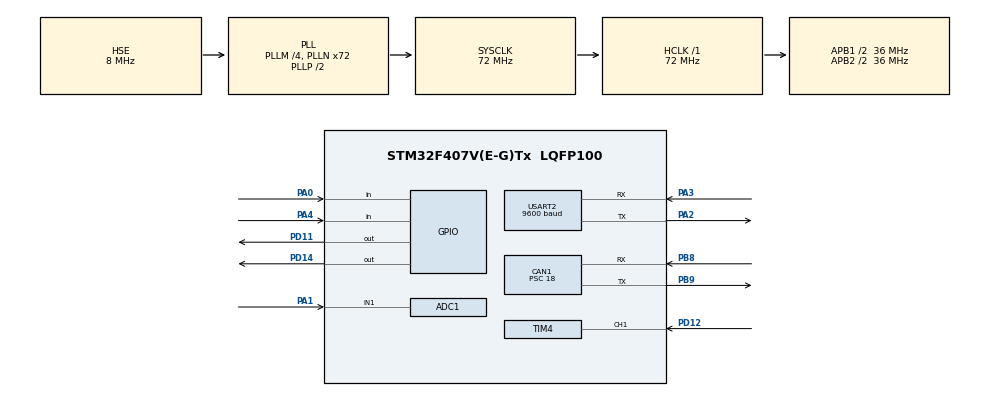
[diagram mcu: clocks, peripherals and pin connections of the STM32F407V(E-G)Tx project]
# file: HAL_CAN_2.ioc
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ADC1.Channel-0\#ChannelRegularConversion=ADC_CHANNEL_1
ADC1.NbrOfConversionFlag=1
ADC1.Rank-0\#ChannelRegularConversion=1
ADC1.SamplingTime-0\#ChannelRegularConversion=ADC_SAMPLETIME_3CYCLES
ADC1.master=1
CAN1.BS1=CAN_BS1_2TQ
CAN1.CalculateBaudRate=500000
CAN1.CalculateTimeBit=2000
CAN1.CalculateTimeQuantum=500.0
CAN1.Prescaler=18
Mcu.Family=STM32F4
Mcu.Name=STM32F407V(E-G)Tx
Mcu.Package=LQFP100
NVIC.CAN1_RX0_IRQn=true\:0\:0\:false\:false\:true\:true\:true\:true
NVIC.PriorityGroup=NVIC_PRIORITYGROUP_0
NVIC.TIM4_IRQn=true\:0\:0\:false\:false\:true\:true\:true\:true
PA0-WKUP.Signal=GPIO_Input
PA1.Signal=ADCx_IN1
PA2.Mode=Asynchronous
PA2.Signal=USART2_TX
PA3.Mode=Asynchronous
PA3.Signal=USART2_RX
PA4.Signal=GPIO_Input
PB8.Mode=CAN_Activate
PB8.Signal=CAN1_RX
PB9.Mode=CAN_Activate
PB9.Signal=CAN1_TX
PD11.Signal=GPIO_Output
PD12.Signal=S_TIM4_CH1
PD14.Signal=GPIO_Output
PH0-OSC_IN.Mode=HSE-External-Oscillator
PH0-OSC_IN.Signal=RCC_OSC_IN
PH1-OSC_OUT.Mode=HSE-External-Oscillator
PH1-OSC_OUT.Signal=RCC_OSC_OUT
ProjectManager.HeapSize=0x200
ProjectManager.StackSize=0x400
ProjectManager.TargetToolchain=STM32CubeIDE
RCC.48MHZClocksFreq_Value=20571428.57142857
RCC.AHBFreq_Value=72000000
RCC.APB1CLKDivider=RCC_HCLK_DIV2
RCC.APB1Freq_Value=36000000
RCC.APB1TimFreq_Value=72000000
RCC.APB2CLKDivider=RCC_HCLK_DIV2
RCC.APB2Freq_Value=36000000
RCC.APB2TimFreq_Value=72000000
RCC.CortexFreq_Value=72000000
RCC.HCLKFreq_Value=72000000
RCC.HSE_VALUE=8000000
RCC.HSI_VALUE=16000000
RCC.LSE_VALUE=32768
RCC.PLLM=4
RCC.PLLN=72
RCC.PLLQ=7
RCC.PLLSourceVirtual=RCC_PLLSOURCE_HSE
RCC.SYSCLKFreq_VALUE=72000000
RCC.SYSCLKSource=RCC_SYSCLKSOURCE_PLLCLK
RCC.VCOOutputFreq_Value=144000000
SH.ADCx_IN1.0=ADC1_IN1,IN1
SH.S_TIM4_CH1.0=TIM4_CH1,Input_Capture1_from_TI1
TIM4.Channel-Input_Capture1_from_TI1=TIM_CHANNEL_1
TIM4.Prescaler=84-1
USART2.BaudRate=9600
USART2.VirtualMode=VM_ASYNC
VP_TIM4_VS_ClockSourceINT.Mode=Internal
board=STM32F407G-DISC1

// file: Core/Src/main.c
/* USER CODE BEGIN Header */
/**
  ******************************************************************************
  * @file           : main.c
  * @brief          : Main program body
  ******************************************************************************
  * @attention
  *
  * Copyright (c) 2024 STMicroelectronics.
  * All rights reserved.
  *
  * This software is licensed under terms that can be found in the LICENSE file
  * in the root directory of this software component.
  * If no LICENSE file comes with this software, it is provided AS-IS.
  *
  ******************************************************************************
  */
/* USER CODE END Header */
#include "main.h"

/* USER CODE BEGIN Includes */
#include <stdio.h>
#include <string.h>

/* USER CODE END Includes */

/* USER CODE BEGIN PD */
#define ULTRASONIC_TRIGGER_PORT		GPIOD
#define ULTRASONIC_TRIGGER_PIN		GPIO_PIN_11
#define ULTRASONIC_ECHO_PIN_IC		&htim4			//GPIO_PIN_12
/* USER CODE END PD */

ADC_HandleTypeDef hadc1;

CAN_HandleTypeDef hcan1;

TIM_HandleTypeDef htim4;

UART_HandleTypeDef huart2;

/* USER CODE BEGIN PV */
CAN_TxHeaderTypeDef TxHeader;
uint8_t TxData[8]={0};
uint32_t TxMailBox;
//.....................................
uint16_t distance = 0;
uint8_t isReadingFinished = 0;
uint8_t isRisingCaptured = 0;
uint32_t InputCaptureValue_1 = 0;
uint32_t InputCaptureValue_2 = 0;
uint32_t InputCaptureDifference = 0;
/* USER CODE END PV */

void SystemClock_Config(void);
static void MX_GPIO_Init(void);
static void MX_CAN1_Init(void);
static void MX_TIM4_Init(void);
static void MX_USART2_UART_Init(void);
static void MX_ADC1_Init(void);

/* USER CODE BEGIN 0 */

void Ultrasonic_distance(void)
{
	//Send Trigger Signal to ultrasonic trigger pin
	HAL_GPIO_WritePin(ULTRASONIC_TRIGGER_PORT, ULTRASONIC_TRIGGER_PIN, GPIO_PIN_SET);
	HAL_Delay(10);
	HAL_GPIO_WritePin(ULTRASONIC_TRIGGER_PORT, ULTRASONIC_TRIGGER_PIN, GPIO_PIN_RESET);
	//Enable Timer counter
	__HAL_TIM_ENABLE_IT(ULTRASONIC_ECHO_PIN_IC, TIM_IT_CC1);
}

void HAL_TIM_IC_CaptureCallback(TIM_HandleTypeDef *htim)
{
	//Capture Rising Edge
	if(isRisingCaptured == 0)
	{
		InputCaptureValue_1 = HAL_TIM_ReadCapturedValue(&htim4, TIM_CHANNEL_1);
		isRisingCaptured = 1;
		__HAL_TIM_SET_CAPTUREPOLARITY(&htim4, TIM_CHANNEL_1, TIM_INPUTCHANNELPOLARITY_FALLING);
	}
	//Capture Falling Edge
	else if(isRisingCaptured == 1)
	{
		InputCaptureValue_2 = HAL_TIM_ReadCapturedValue(&htim4, TIM_CHANNEL_1);
		__HAL_TIM_SET_COUNTER(&htim4, 0);

		if(InputCaptureValue_2 > InputCaptureValue_1)
		{
			InputCaptureDifference = InputCaptureValue_2 - InputCaptureValue_1;
		}
		else if(InputCaptureValue_1 > InputCaptureValue_2)
		{
			InputCaptureDifference = (0xFFFF - InputCaptureValue_1) + InputCaptureValue_2;
		}

		distance = InputCaptureDifference * 0.0173;

		isReadingFinished = 1;

		isRisingCaptured = 0;

		__HAL_TIM_SET_CAPTUREPOLARITY(&htim4, TIM_CHANNEL_1, TIM_INPUTCHANNELPOLARITY_RISING);
		__HAL_TIM_DISABLE_IT(&htim4, TIM_IT_CC1);

	}

}
/* USER CODE END 0 */

int main(void)
{

  /* MCU Configuration--------------------------------------------------------*/

  /* Reset of all peripherals, Initializes the Flash interface and the Systick. */
  HAL_Init();

  /* Configure the system clock */
  SystemClock_Config();

  /* Initialize all configured peripherals */
  MX_GPIO_Init();
  MX_CAN1_Init();
  MX_TIM4_Init();
  MX_USART2_UART_Init();
  MX_ADC1_Init();

  /* USER CODE BEGIN 2 */
  HAL_CAN_Start(&hcan1);
  HAL_TIM_IC_Start_IT(&htim4, TIM_CHANNEL_1);
  /* USER CODE END 2 */

  /* Infinite loop */
  /* USER CODE BEGIN WHILE */
	TxHeader.DLC = 5;
	TxHeader.RTR = CAN_RTR_DATA;
	TxHeader.IDE = CAN_ID_STD;
	TxHeader.StdId = 0x0A9;
	TxHeader.ExtId = 0x0000;
	TxHeader.TransmitGlobalTime = DISABLE;
  while (1)
  {
    /* USER CODE END WHILE */

    /* USER CODE BEGIN 3 */
	Ultrasonic_distance();
//	uint16_t distance = Get_Distance_Cm();
	HAL_GPIO_WritePin(GPIOD, GPIO_PIN_14, GPIO_PIN_RESET);
	HAL_ADC_Start(&hadc1);
	HAL_ADC_PollForConversion(&hadc1,HAL_MAX_DELAY);
	uint16_t tempreture =HAL_ADC_GetValue(&hadc1);
	uint8_t rain =HAL_GPIO_ReadPin(GPIOA, GPIO_PIN_4);
	uint16_t switch_read = HAL_GPIO_ReadPin(GPIOA, GPIO_PIN_0);
	if(switch_read == GPIO_PIN_SET)
	{
		HAL_GPIO_WritePin(GPIOD, GPIO_PIN_14, GPIO_PIN_SET);
	}
	TxData[0] = (uint8_t)distance >> 8;
	TxData[1] = (uint8_t)distance & 0xFF;

	TxData[2] = (uint8_t)tempreture >> 8;
	TxData[3] = (uint8_t)tempreture & 0xFF;
	TxData[4] = rain;
	if(HAL_CAN_AddTxMessage(&hcan1, &TxHeader, TxData, &TxMailBox) != HAL_OK)
				Error_Handler();
	HAL_Delay(1000);
  }
  /* USER CODE END 3 */
}

void SystemClock_Config(void)
{
  RCC_OscInitTypeDef RCC_OscInitStruct = {0};
  RCC_ClkInitTypeDef RCC_ClkInitStruct = {0};

  /** Configure the main internal regulator output voltage
  */
  __HAL_RCC_PWR_CLK_ENABLE();
  __HAL_PWR_VOLTAGESCALING_CONFIG(PWR_REGULATOR_VOLTAGE_SCALE1);

  /** Initializes the RCC Oscillators according to the specified parameters
  * in the RCC_OscInitTypeDef structure.
  */
  RCC_OscInitStruct.OscillatorType = RCC_OSCILLATORTYPE_HSE;
  RCC_OscInitStruct.HSEState = RCC_HSE_ON;
  RCC_OscInitStruct.PLL.PLLState = RCC_PLL_ON;
  RCC_OscInitStruct.PLL.PLLSource = RCC_PLLSOURCE_HSE;
  RCC_OscInitStruct.PLL.PLLM = 4;
  RCC_OscInitStruct.PLL.PLLN = 72;
  RCC_OscInitStruct.PLL.PLLP = RCC_PLLP_DIV2;
  RCC_OscInitStruct.PLL.PLLQ = 7;
  if (HAL_RCC_OscConfig(&RCC_OscInitStruct) != HAL_OK)
  {
    Error_Handler();
  }

  /** Initializes the CPU, AHB and APB buses clocks
  */
  RCC_ClkInitStruct.ClockType = RCC_CLOCKTYPE_HCLK|RCC_CLOCKTYPE_SYSCLK
                              |RCC_CLOCKTYPE_PCLK1|RCC_CLOCKTYPE_PCLK2;
  RCC_ClkInitStruct.SYSCLKSource = RCC_SYSCLKSOURCE_PLLCLK;
  RCC_ClkInitStruct.AHBCLKDivider = RCC_SYSCLK_DIV1;
  RCC_ClkInitStruct.APB1CLKDivider = RCC_HCLK_DIV2;
  RCC_ClkInitStruct.APB2CLKDivider = RCC_HCLK_DIV2;

  if (HAL_RCC_ClockConfig(&RCC_ClkInitStruct, FLASH_LATENCY_2) != HAL_OK)
  {
    Error_Handler();
  }
}

static void MX_ADC1_Init(void)
{

  ADC_ChannelConfTypeDef sConfig = {0};

  /** Configure the global features of the ADC (Clock, Resolution, Data Alignment and number of conversion)
  */
  hadc1.Instance = ADC1;
  hadc1.Init.ClockPrescaler = ADC_CLOCK_SYNC_PCLK_DIV2;
  hadc1.Init.Resolution = ADC_RESOLUTION_12B;
  hadc1.Init.ScanConvMode = DISABLE;
  hadc1.Init.ContinuousConvMode = DISABLE;
  hadc1.Init.DiscontinuousConvMode = DISABLE;
  hadc1.Init.ExternalTrigConvEdge = ADC_EXTERNALTRIGCONVEDGE_NONE;
  hadc1.Init.ExternalTrigConv = ADC_SOFTWARE_START;
  hadc1.Init.DataAlign = ADC_DATAALIGN_RIGHT;
  hadc1.Init.NbrOfConversion = 1;
  hadc1.Init.DMAContinuousRequests = DISABLE;
  hadc1.Init.EOCSelection = ADC_EOC_SINGLE_CONV;
  if (HAL_ADC_Init(&hadc1) != HAL_OK)
  {
    Error_Handler();
  }

  /** Configure for the selected ADC regular channel its corresponding rank in the sequencer and its sample time.
  */
  sConfig.Channel = ADC_CHANNEL_1;
  sConfig.Rank = 1;
  sConfig.SamplingTime = ADC_SAMPLETIME_3CYCLES;
  if (HAL_ADC_ConfigChannel(&hadc1, &sConfig) != HAL_OK)
  {
    Error_Handler();
  }

}

static void MX_CAN1_Init(void)
{

  hcan1.Instance = CAN1;
  hcan1.Init.Prescaler = 18;
  hcan1.Init.Mode = CAN_MODE_NORMAL;
  hcan1.Init.SyncJumpWidth = CAN_SJW_1TQ;
  hcan1.Init.TimeSeg1 = CAN_BS1_2TQ;
  hcan1.Init.TimeSeg2 = CAN_BS2_1TQ;
  hcan1.Init.TimeTriggeredMode = DISABLE;
  hcan1.Init.AutoBusOff = DISABLE;
  hcan1.Init.AutoWakeUp = DISABLE;
  hcan1.Init.AutoRetransmission = DISABLE;
  hcan1.Init.ReceiveFifoLocked = DISABLE;
  hcan1.Init.TransmitFifoPriority = DISABLE;
  if (HAL_CAN_Init(&hcan1) != HAL_OK)
  {
    Error_Handler();
  }
  /* USER CODE BEGIN CAN1_Init 2 */
  CAN_FilterTypeDef FilterConfig;
  //FilterConfig.SlaveStartFilterBank = 9;
  FilterConfig.FilterActivation = CAN_FILTER_ENABLE;
  FilterConfig.FilterBank = 0;
  FilterConfig.FilterScale = CAN_FILTERSCALE_32BIT;
  FilterConfig.FilterMode = CAN_FILTERMODE_IDMASK;
  FilterConfig.FilterMaskIdHigh = 0xFF00;
  FilterConfig.FilterMaskIdLow = 0x0000;
  FilterConfig.FilterIdHigh = 0x1500;
  FilterConfig.FilterIdLow = 0x0000;
  FilterConfig.FilterFIFOAssignment = CAN_RX_FIFO0;

  if(HAL_CAN_ConfigFilter(&hcan1, &FilterConfig) != HAL_OK)
	   Error_Handler();
  /* USER CODE END CAN1_Init 2 */

}

static void MX_TIM4_Init(void)
{

  TIM_ClockConfigTypeDef sClockSourceConfig = {0};
  TIM_MasterConfigTypeDef sMasterConfig = {0};
  TIM_IC_InitTypeDef sConfigIC = {0};

  htim4.Instance = TIM4;
  htim4.Init.Prescaler = 84-1;
  htim4.Init.CounterMode = TIM_COUNTERMODE_UP;
  htim4.Init.Period = 65535;
  htim4.Init.ClockDivision = TIM_CLOCKDIVISION_DIV1;
  htim4.Init.AutoReloadPreload = TIM_AUTORELOAD_PRELOAD_DISABLE;
  if (HAL_TIM_Base_Init(&htim4) != HAL_OK)
  {
    Error_Handler();
  }
  sClockSourceConfig.ClockSource = TIM_CLOCKSOURCE_INTERNAL;
  if (HAL_TIM_ConfigClockSource(&htim4, &sClockSourceConfig) != HAL_OK)
  {
    Error_Handler();
  }
  if (HAL_TIM_IC_Init(&htim4) != HAL_OK)
  {
    Error_Handler();
  }
  sMasterConfig.MasterOutputTrigger = TIM_TRGO_RESET;
  sMasterConfig.MasterSlaveMode = TIM_MASTERSLAVEMODE_DISABLE;
  if (HAL_TIMEx_MasterConfigSynchronization(&htim4, &sMasterConfig) != HAL_OK)
  {
    Error_Handler();
  }
  sConfigIC.ICPolarity = TIM_INPUTCHANNELPOLARITY_RISING;
  sConfigIC.ICSelection = TIM_ICSELECTION_DIRECTTI;
  sConfigIC.ICPrescaler = TIM_ICPSC_DIV1;
  sConfigIC.ICFilter = 0;
  if (HAL_TIM_IC_ConfigChannel(&htim4, &sConfigIC, TIM_CHANNEL_1) != HAL_OK)
  {
    Error_Handler();
  }

}

static void MX_USART2_UART_Init(void)
{

  huart2.Instance = USART2;
  huart2.Init.BaudRate = 9600;
  huart2.Init.WordLength = UART_WORDLENGTH_8B;
  huart2.Init.StopBits = UART_STOPBITS_1;
  huart2.Init.Parity = UART_PARITY_NONE;
  huart2.Init.Mode = UART_MODE_TX_RX;
  huart2.Init.HwFlowCtl = UART_HWCONTROL_NONE;
  huart2.Init.OverSampling = UART_OVERSAMPLING_16;
  if (HAL_UART_Init(&huart2) != HAL_OK)
  {
    Error_Handler();
  }

}

static void MX_GPIO_Init(void)
{
  GPIO_InitTypeDef GPIO_InitStruct = {0};

  /* GPIO Ports Clock Enable */
  __HAL_RCC_GPIOH_CLK_ENABLE();
  __HAL_RCC_GPIOA_CLK_ENABLE();
  __HAL_RCC_GPIOD_CLK_ENABLE();
  __HAL_RCC_GPIOB_CLK_ENABLE();

  /*Configure GPIO pin Output Level */
  HAL_GPIO_WritePin(GPIOD, GPIO_PIN_11|GPIO_PIN_14, GPIO_PIN_RESET);

  /*Configure GPIO pins : PA0 PA4 */
  GPIO_InitStruct.Pin = GPIO_PIN_0|GPIO_PIN_4;
  GPIO_InitStruct.Mode = GPIO_MODE_INPUT;
  GPIO_InitStruct.Pull = GPIO_NOPULL;
  HAL_GPIO_Init(GPIOA, &GPIO_InitStruct);

  /*Configure GPIO pins : PD11 PD14 */
  GPIO_InitStruct.Pin = GPIO_PIN_11|GPIO_PIN_14;
  GPIO_InitStruct.Mode = GPIO_MODE_OUTPUT_PP;
  GPIO_InitStruct.Pull = GPIO_NOPULL;
  GPIO_InitStruct.Speed = GPIO_SPEED_FREQ_LOW;
  HAL_GPIO_Init(GPIOD, &GPIO_InitStruct);

}

void Error_Handler(void)
{
  __disable_irq();
  while (1)
  {
  }
}
